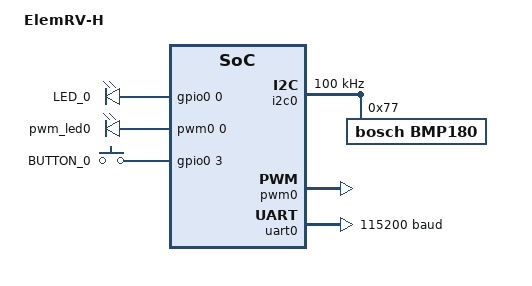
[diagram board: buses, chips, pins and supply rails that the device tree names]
/*
 * Copyright (C) 2026 Aesc Silicon
 *
 * SPDX-License-Identifier: Apache-2.0
 */

/dts-v1/;

#include <aesc/elemrv-h.dtsi>
#include <zephyr/dt-bindings/pwm/pwm.h>
#include "elemrv_elemrv_h-pinctrl.dtsi"

/ {
	model = "ElemRV-H";
	compatible = "aesc,elemrv-h";

	aliases {
		led0 = &led0;
		sw0 = &button0;
		pressure-sensor = &bmp180;
		pwm-led0 = &pwm_led0;
	};

	chosen {
		zephyr,console = &uart0;
		zephyr,shell-uart = &uart0;
		zephyr,sram = &ocram;
		zephyr,flash = &flash;
	};

	leds: leds {
		compatible = "gpio-leds";

		led0: led0 {
			gpios = <&gpio0 0 GPIO_ACTIVE_HIGH>;
			label = "LED_0";
		};
	};

	pwmleds {
		compatible = "pwm-leds";

		pwm_led0: pwm_led0 {
			pwms = <&pwm0 0 PWM_MSEC(20) PWM_POLARITY_NORMAL>;
		};
	};

	buttons: buttons {
		compatible = "gpio-keys";

		button0: button0 {
			gpios = <&gpio0 3 GPIO_ACTIVE_HIGH>;
			label = "BUTTON_0";
		};
	};

	soc {
		ocram: memory@80000000 {
			device_type = "memory";
			compatible = "mmio-sram";
			reg = <0x80000000 DT_SIZE_K(8)>;
		};

		flash: flash@a0010000 {
			compatible = "soc-nv-flash";
			reg = <0xa0010000 DT_SIZE_K(128)>;
		};
	};
};

&cpu0 {
	clock-frequency = <DT_FREQ_M(50)>;
};

&gpio0 {
	pinctrl-0 = <&gpio0_pin1_default>;
	pinctrl-names = "default";
	status = "okay";
};

&i2c0 {
	pinctrl-0 = <&i2c0_scl_default &i2c0_sda_default &i2c0_irq_default>;
	pinctrl-names = "default";
	input-frequency = <DT_FREQ_M(50)>;
	clock-frequency = <DT_FREQ_K(100)>;
	status = "okay";

	#address-cells = <1>;
	#size-cells = <0>;

	bmp180: bmp180@77 {
		compatible = "bosch,bmp180";
		reg = <0x77>;
		osr-press = <1>;
	};
};

&pio0 {
	pinctrl-0 = <&pio0_pin1_default &pio0_pin2_default>;
	pinctrl-names = "default";
	clock-frequency = <DT_FREQ_M(50)>;
	aesc,tick-frequency = <DT_FREQ_K(1)>;
	status = "okay";
};

&pinctrl {
	status = "okay";
};

&plic {
	riscv,ndev = <5>;
};

&pwm0 {
	pinctrl-0 = <&pwm0_out0_default &pwm0_comp0_default>;
	pinctrl-names = "default";
	input-frequency = <DT_FREQ_M(50)>;
	status = "okay";
};

&uart0 {
	clock-frequency = <DT_FREQ_M(50)>;
	current-speed = <115200>;
	pinctrl-0 = <&uart0_tx_default &uart0_rx_default &uart0_cts_default &uart0_rts_default>;
	pinctrl-names = "default";
	status = "okay";
};
